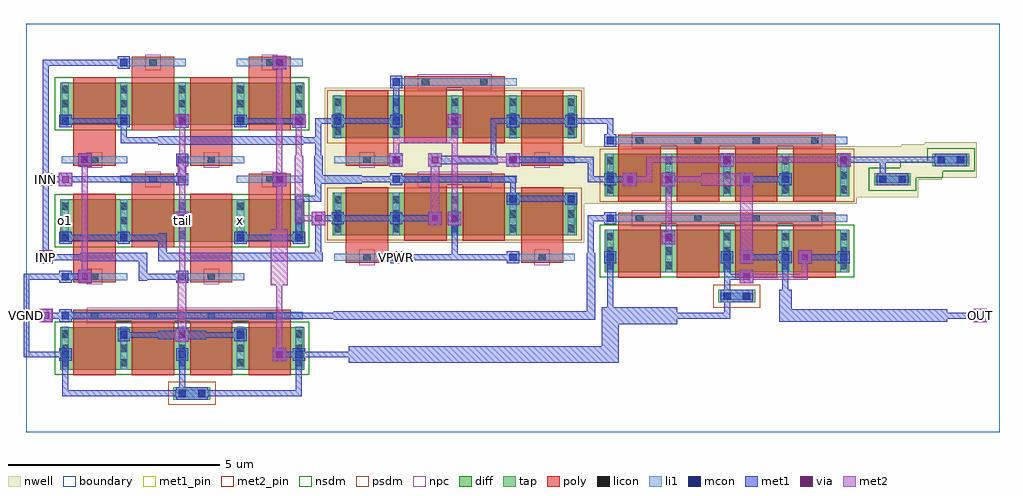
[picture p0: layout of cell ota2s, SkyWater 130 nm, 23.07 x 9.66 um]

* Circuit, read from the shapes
.subckt ota2s INN INP OUT VBN VGND VPWR o1 tail x
XM1 tail VBN VGND VGND sky130_fd_pr__nfet_01v8 w=1 l=1 m=4
XM2 o1 VGND o1 VGND sky130_fd_pr__nfet_01v8 w=1 l=1 m=2
XM3 x VGND x VGND sky130_fd_pr__nfet_01v8 w=1 l=1 m=2
XM4 tail INN o1 VGND sky130_fd_pr__nfet_01v8 w=1 l=1 m=2
XM5 tail INP x VGND sky130_fd_pr__nfet_01v8 w=1 l=1 m=2
XM6 OUT VBN VGND VGND sky130_fd_pr__nfet_01v8 w=1 l=1 m=4
XM7 o1 VPWR o1 VPWR sky130_fd_pr__pfet_01v8 w=1 l=1 m=2
XM8 x VPWR x VPWR sky130_fd_pr__pfet_01v8 w=1 l=1 m=2
XM9 VPWR x o1 VPWR sky130_fd_pr__pfet_01v8 w=1 l=1 m=2
XM10 VPWR x x VPWR sky130_fd_pr__pfet_01v8 w=1 l=1 m=2
XM11 OUT o1 VPWR VPWR sky130_fd_pr__pfet_01v8 w=1 l=1 m=4
.ends

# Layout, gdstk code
import gdstk
lib = gdstk.Library(unit=1e-6, precision=1e-09)
def R(c, l, rs):  # rectangles x0, y0, x1, y1
    for r in rs: c.add(gdstk.rectangle(r[:2], r[2:], *l))
def A(c, l, x, y, w, h, nx, ny, dx, dy):  # array of equal rectangles
    R(c, l, [(x+i*dx, y+j*dy, x+i*dx+w, y+j*dy+h) for i in range(nx) for j in range(ny)])
nwell = (64, 20)
diff = (65, 20)
tap = (65, 44)
poly = (66, 20)
licon = (66, 44)
li1 = (67, 20)
mcon = (67, 44)
met1_pin = (68, 16)
met1 = (68, 20)
via = (68, 44)
met2_pin = (69, 16)
met2 = (69, 20)
nsdm = (93, 44)
psdm = (94, 20)
npc = (95, 20)
boundary = (235, 4)

ota2s = lib.new_cell('ota2s')
R(ota2s, nwell, [(7.055,4.48,13.185,5.4), (7.055,5.4,19.625,5.56), (7.055,5.56,21.085,5.97), (7.055,5.97,21.632,6.02), (7.055,6.02,22.465,6.76), (7.055,6.76,13.185,8.14), (20.688,6.76,22.465,6.81), (21.235,6.81,22.465,6.86)])
R(ota2s, diff, [(0.795,1.485,6.565,2.485), (13.675,3.785,19.445,4.785), (0.795,4.505,6.565,5.505), (7.235,4.66,13.005,5.66), (13.675,5.58,19.445,6.58), (7.235,6.96,13.005,7.96), (0.795,7.265,6.565,8.265)])
R(ota2s, tap, [(3.475,0.775,4.345,1.065), (16.355,3.075,17.225,3.365), (20.035,5.835,20.905,6.125), (21.415,6.295,22.285,6.585)])
A(ota2s, poly, 1.11, 1.355, 1, 1.405, 4, 1, 1.38, 0)
A(ota2s, poly, 13.99, 3.655, 1, 1.405, 4, 1, 1.38, 0)
A(ota2s, poly, 13.99, 5.45, 1, 1.45, 4, 1, 1.38, 0)
R(ota2s, poly, [(1.11,2.625,6.25,2.895), (1.11,3.545,2.11,3.815), (3.87,3.545,4.87,3.815), (1.11,3.68,2.11,5.635), (3.87,3.68,4.87,5.635), (7.55,4.005,8.55,4.275), (11.69,4.005,12.69,4.275), (7.55,4.14,8.55,5.79), (11.69,4.14,12.69,5.79), (2.49,4.375,3.49,5.98), (5.25,4.375,6.25,5.98), (8.93,4.53,9.93,5.98), (10.31,4.53,11.31,5.98), (13.99,4.925,19.13,5.195), (2.49,5.845,3.49,6.115), (5.25,5.845,6.25,6.115), (8.93,5.845,11.31,6.115), (1.11,6.305,2.11,6.575), (3.87,6.305,4.87,6.575), (7.55,6.305,8.55,6.575), (11.69,6.305,12.69,6.575), (1.11,6.44,2.11,8.395), (3.87,6.44,4.87,8.395), (7.55,6.44,8.55,8.09), (11.69,6.44,12.69,8.09), (13.99,6.765,19.13,7.035), (8.93,6.83,9.93,8.28), (10.31,6.83,11.31,8.28), (2.49,7.135,3.49,8.74), (5.25,7.135,6.25,8.74), (8.93,8.145,11.31,8.415), (2.49,8.605,3.49,8.875), (5.25,8.605,6.25,8.875)])
A(ota2s, licon, 0.835, 1.56, 0.17, 0.17, 5, 3, 1.38, 0.34)
A(ota2s, licon, 1.525, 2.675, 0.17, 0.17, 4, 1, 1.38, 0)
A(ota2s, licon, 13.715, 3.86, 0.17, 0.17, 5, 3, 1.38, 0.34)
A(ota2s, licon, 0.835, 4.58, 0.17, 0.17, 5, 3, 1.38, 0.34)
A(ota2s, licon, 7.275, 4.735, 0.17, 0.17, 5, 3, 1.38, 0.34)
A(ota2s, licon, 14.405, 4.975, 0.17, 0.17, 4, 2, 1.38, 1.84)
A(ota2s, licon, 13.715, 5.655, 0.17, 0.17, 5, 3, 1.38, 0.34)
A(ota2s, licon, 7.275, 7.035, 0.17, 0.17, 5, 3, 1.38, 0.34)
A(ota2s, licon, 0.835, 7.34, 0.17, 0.17, 5, 3, 1.38, 0.34)
R(ota2s, licon, [(3.595,0.835,3.765,1.005), (4.055,0.835,4.225,1.005), (16.475,3.135,16.645,3.305), (16.935,3.135,17.105,3.305), (1.525,3.595,1.695,3.765), (4.285,3.595,4.455,3.765), (7.965,4.055,8.135,4.225), (12.105,4.055,12.275,4.225), (2.905,5.895,3.075,6.065), (5.665,5.895,5.835,6.065), (9.345,5.895,9.515,6.065), (10.725,5.895,10.895,6.065), (20.155,5.895,20.325,6.065), (20.615,5.895,20.785,6.065), (1.525,6.355,1.695,6.525), (4.285,6.355,4.455,6.525), (7.965,6.355,8.135,6.525), (12.105,6.355,12.275,6.525), (21.535,6.355,21.705,6.525), (21.995,6.355,22.165,6.525), (9.345,8.195,9.515,8.365), (10.725,8.195,10.895,8.365), (2.905,8.655,3.075,8.825), (5.665,8.655,5.835,8.825)])
A(ota2s, li1, 0.835, 1.48, 0.17, 1.01, 5, 2, 1.38, 3.02)
A(ota2s, li1, 13.715, 3.78, 0.17, 1.01, 5, 2, 1.38, 1.795)
A(ota2s, li1, 7.275, 4.655, 0.17, 1.01, 5, 2, 1.38, 2.3)
A(ota2s, li1, 0.835, 7.26, 0.17, 1.01, 5, 1, 1.38, 0)
R(ota2s, li1, [(3.515,0.835,4.305,1.005), (0.835,2.675,6.525,2.845), (16.395,3.135,17.185,3.305), (0.835,3.595,2.385,3.765), (3.595,3.595,5.145,3.765), (7.275,4.055,8.825,4.225), (11.415,4.055,12.965,4.225), (13.715,4.975,19.405,5.145), (2.215,5.895,3.765,6.065), (4.975,5.895,6.525,6.065), (8.655,5.895,11.585,6.065), (20.075,5.895,20.865,6.065), (0.835,6.355,2.385,6.525), (3.595,6.355,5.145,6.525), (7.275,6.355,8.825,6.525), (11.415,6.355,12.965,6.525), (21.455,6.355,22.245,6.525), (13.715,6.815,19.405,6.985), (8.655,8.195,11.585,8.365), (2.215,8.655,3.765,8.825), (4.975,8.655,6.525,8.825)])
A(ota2s, mcon, 0.835, 1.755, 0.17, 0.17, 3, 1, 2.76, 0)
A(ota2s, mcon, 0.835, 2.675, 0.17, 0.17, 1, 3, 0, 0.92)
A(ota2s, mcon, 13.715, 4.055, 0.17, 0.17, 1, 4, 0, 0.92)
A(ota2s, mcon, 16.475, 4.055, 0.17, 0.17, 3, 1, 1.38, 0)
A(ota2s, mcon, 7.275, 4.975, 0.17, 0.17, 3, 1, 1.38, 0)
A(ota2s, mcon, 0.835, 7.275, 0.17, 0.17, 5, 1, 1.38, 0)
A(ota2s, mcon, 7.275, 7.275, 0.17, 0.17, 5, 1, 1.38, 0)
R(ota2s, mcon, [(3.595,0.835,3.765,1.005), (4.055,0.835,4.225,1.005), (2.215,2.215,2.385,2.385), (4.975,2.215,5.145,2.385), (16.475,3.135,16.645,3.305), (16.935,3.135,17.105,3.305), (3.595,3.595,3.765,3.765), (8.655,4.055,8.825,4.225), (11.415,4.055,11.585,4.225), (2.215,4.515,2.385,4.685), (4.975,4.515,5.145,4.685), (6.355,4.515,6.525,4.685), (15.095,4.515,15.265,4.685), (3.595,4.975,3.765,5.145), (11.415,5.435,11.585,5.605), (12.795,5.435,12.965,5.605), (3.595,5.895,3.765,6.065), (5.895,5.895,6.065,6.065), (8.655,5.895,8.825,6.065), (15.095,5.895,15.265,6.065), (17.855,5.895,18.025,6.065), (20.155,5.895,20.325,6.065), (20.615,5.895,20.785,6.065), (1.295,6.355,1.465,6.525), (3.595,6.355,3.765,6.525), (8.655,6.355,8.825,6.525), (11.415,6.355,11.585,6.525), (16.475,6.355,16.645,6.525), (19.235,6.355,19.405,6.525), (21.535,6.355,21.705,6.525), (21.995,6.355,22.165,6.525), (8.655,8.195,8.825,8.365), (2.215,8.655,2.385,8.825), (5.895,8.655,6.065,8.825)])
R(ota2s, met1_pin, [(-0.07,1.77,0.07,3.75), (8.595,3.995,8.885,4.285)])
A(ota2s, met1, 0.85, 0.85, 0.14, 1.06, 3, 1, 2.76, 0)
A(ota2s, met1, 0.775, 1.695, 0.29, 0.29, 3, 1, 2.76, 0)
A(ota2s, met1, 2.23, 2.23, 1.06, 0.14, 1, 3, 0, 2.3)
A(ota2s, met1, 0.775, 2.615, 0.29, 0.29, 1, 3, 0, 0.92)
A(ota2s, met1, 13.655, 3.995, 0.29, 0.29, 1, 4, 0, 0.92)
A(ota2s, met1, 16.415, 3.995, 0.29, 0.29, 3, 1, 1.38, 0)
A(ota2s, met1, 6.83, 4.07, 0.14, 1.06, 3, 1, 3.22, 0)
A(ota2s, met1, 7.215, 4.915, 0.29, 0.29, 3, 1, 1.38, 0)
A(ota2s, met1, 0.775, 7.215, 0.29, 0.29, 5, 1, 1.38, 0)
A(ota2s, met1, 7.215, 7.215, 0.29, 0.29, 5, 1, 1.38, 0)
R(ota2s, met1, [(3.535,0.775,4.285,1.065), (0.85,0.85,3.75,0.99), (3.61,0.85,6.51,0.99), (3.61,0.85,3.75,0.99), (7.62,1.64,14,2.04), (13.6,1.64,14,2.96), (5.82,1.68,6.14,2), (-0.07,1.77,0.99,1.91), (-0.07,1.77,0.07,3.75), (5.91,1.77,6.51,1.91), (6.37,1.77,7.89,1.91), (3.52,2.14,3.84,2.46), (2.155,2.155,2.445,2.445), (4.915,2.155,5.205,2.445), (3.12,2.2,3.78,2.4), (3.58,2.2,4.24,2.4), (4.07,2.23,5.13,2.37), (13.6,2.56,15.38,2.96), (0.3,2.6,0.62,2.92), (22.38,2.6,22.7,2.92), (17.79,2.61,18.09,3.37), (17.79,2.61,21.77,2.91), (7.26,2.66,13.44,2.86), (13.24,2.66,13.44,4.24), (0.39,2.69,0.99,2.83), (0.85,2.69,7.43,2.83), (13.73,2.69,13.87,4.21), (15.11,2.69,16.63,2.83), (16.49,2.69,16.63,3.29), (21.55,2.69,22.61,2.83), (16.415,3.075,17.165,3.365), (16.49,3.15,16.63,4.21), (16.49,3.15,16.63,3.29), (17.87,3.15,18.01,4.21), (1.22,3.52,1.54,3.84), (16.86,3.52,17.18,3.84), (3.535,3.535,3.825,3.825), (2.66,3.58,2.86,4.24), (-0.07,3.61,0.99,3.75), (0.85,3.61,1.45,3.75), (2.69,3.61,3.75,3.75), (16.49,3.61,17.09,3.75), (0.3,3.98,0.62,4.3), (16.86,3.98,17.18,4.3), (18.24,3.98,18.56,4.3), (8.595,3.995,8.885,4.285), (11.355,3.995,11.645,4.285), (1.28,4.04,2.86,4.24), (3.12,4.04,3.32,4.7), (3.12,4.04,7,4.24), (0.39,4.07,0.53,8.81), (0.39,4.07,1.45,4.21), (8.67,4.07,10.19,4.21), (10.05,4.07,11.57,4.21), (16.95,4.07,18.01,4.21), (18.33,4.07,19.39,4.21), (15.02,4.44,15.34,4.76), (2.155,4.455,2.445,4.745), (4.915,4.455,5.205,4.745), (6.295,4.455,6.585,4.745), (15.035,4.455,15.325,4.745), (0.85,4.53,2.37,4.67), (4.99,4.53,6.51,4.67), (6.37,4.53,6.51,5.59), (3.52,4.9,3.84,5.22), (6.74,4.9,7.06,5.22), (9.5,4.9,9.82,5.22), (9.96,4.9,10.28,5.22), (3.535,4.915,3.825,5.205), (6.83,4.99,7.43,5.13), (7.29,4.99,8.81,5.13), (8.67,4.99,9.73,5.13), (13.27,4.99,13.87,5.13), (11.355,5.375,11.645,5.665), (12.735,5.375,13.025,5.665), (6.37,5.45,6.97,5.59), (6.83,5.45,6.97,6.05), (11.43,5.45,12.95,5.59), (11.43,5.45,11.57,6.05), (0.76,5.82,1.08,6.14), (5.82,5.82,6.14,6.14), (14.1,5.82,14.42,6.14), (15.02,5.82,15.34,6.14), (16.86,5.82,17.18,6.14), (3.535,5.835,3.825,6.125), (5.835,5.835,6.125,6.125), (8.595,5.835,8.885,6.125), (15.035,5.835,15.325,6.125), (17.795,5.835,18.085,6.125), (20.095,5.835,20.845,6.125), (6.8,5.88,7.92,6.08), (6.8,5.88,7,6.54), (0.85,5.91,3.75,6.05), (3.61,5.91,3.75,6.51), (7.75,5.91,8.81,6.05), (8.67,5.91,11.57,6.05), (13.27,5.91,13.87,6.05), (13.27,5.91,13.41,6.51), (13.73,5.91,14.33,6.05), (16.95,5.91,18.01,6.05), (20.17,5.91,20.31,6.51), (20.17,5.91,20.31,6.05), (1.22,6.28,1.54,6.6), (8.58,6.28,8.9,6.6), (9.5,6.28,9.82,6.6), (11.34,6.28,11.66,6.6), (16.4,6.28,16.72,6.6), (19.16,6.28,19.48,6.6), (1.235,6.295,1.525,6.585), (3.535,6.295,3.825,6.585), (8.595,6.295,8.885,6.585), (11.355,6.295,11.645,6.585), (16.415,6.295,16.705,6.585), (19.175,6.295,19.465,6.585), (21.475,6.295,22.225,6.585), (9.56,6.34,11.14,6.54), (6.83,6.37,6.97,7.43), (10.97,6.37,11.11,7.43), (11.43,6.37,13.41,6.51), (19.25,6.37,20.31,6.51), (20.17,6.37,21.69,6.51), (21.55,6.37,21.69,6.51), (3.12,6.8,6.54,7), (2.23,6.83,2.37,7.43), (6.37,6.83,6.97,6.97), (13.73,6.83,13.87,7.43), (3.52,7.2,3.84,7.52), (6.28,7.2,6.6,7.52), (9.96,7.2,10.28,7.52), (0.85,7.29,2.37,7.43), (4.99,7.29,6.51,7.43), (6.83,7.29,7.43,7.43), (7.29,7.29,8.81,7.43), (8.67,7.29,8.81,8.35), (10.97,7.29,11.57,7.43), (11.43,7.29,12.95,7.43), (12.81,7.29,13.87,7.43), (8.595,8.135,8.885,8.425), (5.82,8.58,6.14,8.9), (2.155,8.595,2.445,8.885), (5.835,8.595,6.125,8.885), (0.39,8.67,2.37,8.81)])
R(ota2s, via, [(5.905,1.765,6.055,1.915), (3.605,2.225,3.755,2.375), (0.385,2.685,0.535,2.835), (22.465,2.685,22.615,2.835), (1.305,3.605,1.455,3.755), (16.945,3.605,17.095,3.755), (0.385,4.065,0.535,4.215), (16.945,4.065,17.095,4.215), (18.325,4.065,18.475,4.215), (15.105,4.525,15.255,4.675), (3.605,4.985,3.755,5.135), (6.825,4.985,6.975,5.135), (9.585,4.985,9.735,5.135), (10.045,4.985,10.195,5.135), (0.845,5.905,0.995,6.055), (5.905,5.905,6.055,6.055), (14.185,5.905,14.335,6.055), (15.105,5.905,15.255,6.055), (16.945,5.905,17.095,6.055), (1.305,6.365,1.455,6.515), (8.665,6.365,8.815,6.515), (9.585,6.365,9.735,6.515), (11.425,6.365,11.575,6.515), (16.485,6.365,16.635,6.515), (19.245,6.365,19.395,6.515), (3.605,7.285,3.755,7.435), (6.365,7.285,6.515,7.435), (10.045,7.285,10.195,7.435), (5.905,8.665,6.055,8.815)])
R(ota2s, met2_pin, [(0.31,2.61,0.61,2.91), (22.39,2.61,22.69,2.91), (0.31,3.99,0.61,4.29), (0.31,5.83,0.61,6.13)])
R(ota2s, met2, [(5.82,1.68,6.14,2), (5.91,1.77,6.05,3.75), (3.52,2.14,3.84,2.46), (3.58,2.2,3.78,3.78), (0.3,2.6,0.62,2.92), (22.38,2.6,22.7,2.92), (0.31,2.61,0.61,2.91), (22.39,2.61,22.69,2.91), (0.39,2.69,0.53,2.83), (22.47,2.69,22.61,2.83), (5.78,3.48,6.18,4.8), (1.22,3.52,1.54,3.84), (16.86,3.52,17.18,3.84), (1.31,3.61,1.45,6.51), (3.61,3.61,3.75,5.13), (16.95,3.61,18.47,3.75), (18.33,3.61,18.47,4.21), (0.3,3.98,0.62,4.3), (16.86,3.98,17.18,4.3), (18.24,3.98,18.56,4.3), (0.31,3.99,0.61,4.29), (16.87,3.99,17.17,6.13), (0.39,4.07,0.53,4.21), (15.02,4.44,15.34,4.76), (5.91,4.53,6.05,6.05), (15.11,4.53,15.25,6.05), (3.52,4.9,3.84,5.22), (6.74,4.9,7.06,5.22), (9.5,4.9,9.82,5.22), (9.96,4.9,10.28,5.22), (6.34,4.96,6.54,6.54), (9.56,4.96,9.76,6.54), (3.61,4.99,3.75,6.05), (6.37,4.99,6.97,5.13), (10.05,4.99,10.19,7.43), (0.76,5.82,1.08,6.14), (5.82,5.82,6.14,6.14), (14.1,5.82,14.42,6.14), (15.02,5.82,15.34,6.14), (16.86,5.82,17.18,6.14), (0.31,5.83,0.61,6.13), (15.95,5.83,17.17,6.13), (3.58,5.88,3.78,6.54), (0.39,5.91,0.53,6.05), (0.39,5.91,0.99,6.05), (5.91,5.91,6.05,8.81), (14.19,5.91,14.79,6.05), (14.65,5.91,14.79,6.51), (15.11,5.91,16.17,6.05), (1.22,6.28,1.54,6.6), (8.58,6.28,8.9,6.6), (9.5,6.28,9.82,6.6), (11.34,6.28,11.66,6.6), (16.4,6.28,16.72,6.6), (19.16,6.28,19.48,6.6), (3.61,6.37,3.75,7.43), (6.37,6.37,6.51,7.43), (8.67,6.37,8.81,6.97), (10.05,6.37,11.57,6.51), (14.65,6.37,16.63,6.51), (16.49,6.37,19.39,6.51), (8.67,6.83,10.19,6.97), (3.52,7.2,3.84,7.52), (6.28,7.2,6.6,7.52), (9.96,7.2,10.28,7.52), (5.82,8.58,6.14,8.9)])
R(ota2s, nsdm, [(0.67,1.36,6.69,2.61), (13.55,3.66,19.57,4.91), (0.67,4.38,6.69,5.63), (19.91,5.71,21.03,6.02), (19.91,6.02,21.661,6.17), (19.91,6.17,22.41,6.25), (20.659,6.25,22.41,6.4), (21.29,6.4,22.41,6.71), (0.67,7.14,6.69,8.39)])
R(ota2s, psdm, [(3.35,0.65,4.47,1.19), (16.23,2.95,17.35,3.49), (7.11,4.535,13.13,5.785), (13.55,5.455,19.57,6.705), (7.11,6.835,13.13,8.085)])
R(ota2s, npc, [(1.425,2.575,5.935,2.945), (1.425,3.495,1.795,3.865), (4.185,3.495,4.555,3.865), (7.865,3.955,8.235,4.325), (12.005,3.955,12.375,4.325), (14.305,4.875,18.815,5.245), (2.805,5.795,3.175,6.165), (5.565,5.795,5.935,6.165), (9.245,5.795,10.995,6.165), (1.425,6.255,1.795,6.625), (4.185,6.255,4.555,6.625), (7.865,6.255,8.235,6.625), (12.005,6.255,12.375,6.625), (14.305,6.715,18.815,7.085), (9.245,8.095,10.995,8.465), (2.805,8.555,3.175,8.925), (5.565,8.555,5.935,8.925)])
R(ota2s, boundary, [(0,0,23,9.66)])
ota2s.add(gdstk.Label('o1', (0.92,5.005), layer=67, texttype=5))
ota2s.add(gdstk.Label('tail', (3.68,5.005), layer=67, texttype=5))
ota2s.add(gdstk.Label('x', (5.06,5.005), layer=67, texttype=5))
ota2s.add(gdstk.Label('VPWR', (8.74,4.14), layer=68, texttype=5))
ota2s.add(gdstk.Label('VGND', (0,2.76), layer=68, texttype=5))
ota2s.add(gdstk.Label('INP', (0.46,4.14), layer=69, texttype=5))
ota2s.add(gdstk.Label('INN', (0.46,5.98), layer=69, texttype=5))
ota2s.add(gdstk.Label('VBN', (0.46,2.76), layer=69, texttype=5))
ota2s.add(gdstk.Label('OUT', (22.54,2.76), layer=69, texttype=5))
ota2s.add(gdstk.Label('VPWR', (8.74,4.14), layer=68, texttype=16))
ota2s.add(gdstk.Label('VGND', (0,2.76), layer=68, texttype=16))
ota2s.add(gdstk.Label('INP', (0.46,4.14), layer=69, texttype=16))
ota2s.add(gdstk.Label('INN', (0.46,5.98), layer=69, texttype=16))
ota2s.add(gdstk.Label('VBN', (0.46,2.76), layer=69, texttype=16))
ota2s.add(gdstk.Label('OUT', (22.54,2.76), layer=69, texttype=16))

lib.write_gds('ota2s.gds')
